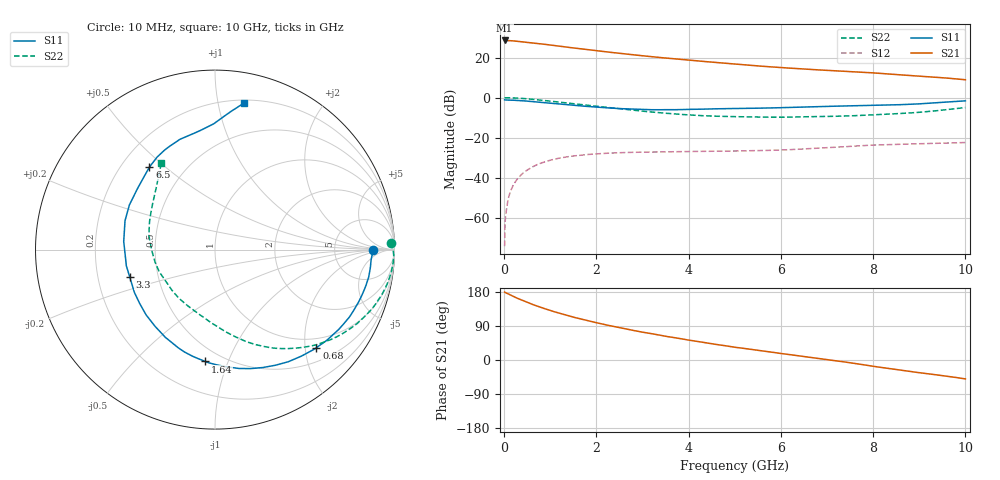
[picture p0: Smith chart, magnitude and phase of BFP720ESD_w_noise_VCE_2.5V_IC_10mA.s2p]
! Infineon Technologies  Discrete & RF Semiconductors
! BFP720ESD
! VCE =  2.5 V,  IC =  10 mA
! Common Emitter S-Parameters:  Jan 2016
# GHz  S  MA  R  50
!  f  S11  S21  S12  S22
! GHz  MAG  ANG  MAG  ANG  MAG  ANG  MAG  ANG
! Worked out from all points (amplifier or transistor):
!   233 points, 10 MHz to 10 GHz, reference 50 ohm
!   highest |S21| = 28.5 dB at 10 MHz (marker M1)
!   |S21| within 3 dB of that: start of sweep to 1.256 GHz
!   unconditionally stable (mu >= 1): start of sweep to 11.9 MHz; 5.148 GHz to 7.935 GHz; 8.082 GHz to 8.861 GHz
!   at 200 MHz: K = 0.08, MSG = 35.9 dB, |S12| = -43.5 dB
!   at 1.74 GHz: K = 0.39, MSG = 26.3 dB, |S12| = -28.5 dB
!   at 10 GHz: K = 0.71, MSG = 15.6 dB, |S12| = -22.3 dB
!   lowest NFmin = 0.67 dB at 450 MHz
!   S11 on the Smith chart (normalised r, x): 10 MHz: 16, -0; 680 MHz: 0.78, -2.24; 1.64 GHz: 0.41, -0.83; 3.3 GHz: 0.34, -0.14; 6.5 GHz: 0.32, +0.44; 10 GHz: 0.22, +1.19
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0.01  0.8815 -0.2  26.58 179.3  0.0002 -9.5  0.984 2.2
0.02  0.8786 -1.2  26.39 178.3  0.0008 85.1  0.993 -0.3
0.085  0.8712 -5.8  26.31 174.6  0.0029 86.9  0.9957 -3.5
0.2  0.8642 -13.6  25.94 167.8  0.0067 81.6  0.9869 -8.6
0.34  0.8456 -22.8  25.07 160.1  0.0111 76.3  0.9661 -14.4
0.52  0.8155 -34.2  23.8 151.1  0.0163 69.7  0.9307 -21.3
0.68  0.7861 -44.0  22.68 143.9  0.0206 64.2  0.8955 -27.0
0.9  0.7465 -56.8  21.17 134.6  0.0256 57.4  0.8447 -34.3
1.1  0.7091 -67.9  19.82 126.9  0.0295 51.9  0.7961 -40.4
1.64  0.6255 -95.0  16.56 108.6  0.0368 39.7  0.6773 -54.5
1.68  0.6201 -96.8  16.34 107.4  0.0372 39.0  0.6698 -55.4
2  0.5836 -110.7  14.75 98.4  0.0398 33.8  0.6124 -62.3
2.44  0.5391 -129.5  12.94 86.7  0.0423 27.6  0.5383 -71.6
2.84  0.5139 -145.8  11.54 77.1  0.0436 23.3  0.4795 -79.7
3.3  0.499 -162.5  10.2 67.3  0.0444 19.9  0.428 -88.5
3.4  0.4996 -166.1  9.945 65.0  0.0445 19.3  0.4184 -90.6
4  0.5106 174.9  8.629 52.5  0.0455 16.4  0.3719 -103.4
5.1  0.5386 150.7  6.693 32.2  0.0471 13.7  0.3353 -128.7
6.5  0.5871 128.5  5.169 9.0  0.0526 13.9  0.3344 -158.5
6.8  0.5987 124.6  4.927 4.3  0.0549 13.5  0.3373 -164.4
8.4  0.6579 100.4  3.831 -23.4  0.0681 4.7  0.3927 158.7
10  0.8322 78.8  2.794 -49.9  0.0763 -5.7  0.5671 121.8
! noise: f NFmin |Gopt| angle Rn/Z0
0.45  0.67  0.27  4  0.12
0.9  0.71  0.26  10  0.13
1.9  0.73  0.22  23  0.12
2.4  0.74  0.2  27  0.13
5.5  0.92  0.03  -166  0.1
10  1.37  0.51  -92  0.38
